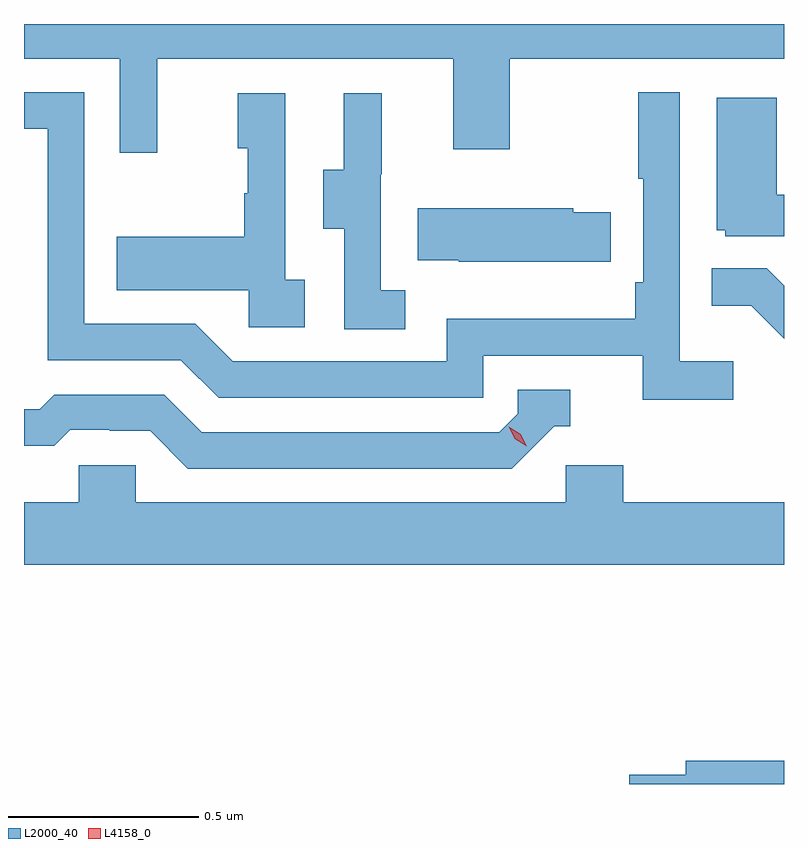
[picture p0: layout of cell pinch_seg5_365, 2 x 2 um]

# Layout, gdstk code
import gdstk
lib = gdstk.Library(unit=1e-6, precision=1e-09)
def P(c, l, *ps):  # polygons
    for p in ps: c.add(gdstk.Polygon(p, *l))
L2000_40 = (2000, 40)
L4158_0 = (4158, 0)

pinch_seg5_365 = lib.new_cell('pinch_seg5_365')
P(pinch_seg5_365, L2000_40, [(968.843,886.064),(969.623,886.064),(969.623,885.825),(969.771,885.825),(969.771,886.064),(970.493,886.064),(970.493,886.155),(968.493,886.155),(968.493,886.064),(968.745,886.064),(968.745,885.816),(968.843,885.816)],
  [(970.36,885.268),(970.218,885.268),(970.218,885.976),(970.11,885.976),(970.11,885.748),(970.122,885.748),(970.122,885.475),(970.102,885.475),(970.102,885.379),(969.606,885.379),(969.606,885.267),(969.042,885.267),(968.943,885.366),(968.652,885.366),(968.652,885.975),(968.493,885.975),(968.493,885.879),(968.556,885.879),(968.556,885.27),(968.906,885.27),(969.005,885.171),(969.702,885.171),(969.702,885.282),(970.121,885.282),(970.121,885.166),(970.36,885.166)],
  [(969.496,885.455),(969.432,885.455),(969.432,885.759),(969.434,885.759),(969.434,885.973),(969.335,885.973),(969.335,885.771),(969.281,885.771),(969.281,885.616),(969.336,885.616),(969.336,885.352),(969.496,885.352)],
  [(969.232,885.482),(969.18,885.482),(969.18,885.973),(969.056,885.973),(969.056,885.828),(969.082,885.828),(969.082,885.71),(969.072,885.71),(969.072,885.595),(968.737,885.595),(968.737,885.455),(969.084,885.455),(969.084,885.357),(969.232,885.357)],
  [(970.493,885.706),(970.474,885.706),(970.474,885.961),(970.316,885.961),(970.316,885.612),(970.338,885.612),(970.338,885.597),(970.493,885.597)],
  [(970.037,885.66),(969.939,885.66),(969.939,885.67),(969.529,885.67),(969.529,885.533),(969.637,885.533),(969.637,885.53),(970.037,885.53)],
  [(970.493,885.466),(970.447,885.512),(970.303,885.512),(970.303,885.413),(970.407,885.413),(970.493,885.327)],
  [(969.888,885.096),(969.931,885.096),(969.931,885.192),(969.792,885.192),(969.792,885.129),(969.744,885.081),(968.961,885.081),(968.862,885.18),(968.573,885.18),(968.534,885.141),(968.493,885.141),(968.493,885.045),(968.573,885.045),(968.615,885.087),(968.718,885.087),(968.718,885.084),(968.825,885.084),(968.924,884.985),(969.777,884.985)],
  [(970.493,884.896),(970.07,884.896),(970.07,884.994),(969.918,884.994),(969.918,884.896),(968.787,884.896),(968.787,884.994),(968.637,884.994),(968.637,884.896),(968.493,884.896),(968.493,884.732),(970.493,884.732)],
  [(970.493,884.216),(970.235,884.216),(970.235,884.18),(970.086,884.18),(970.086,884.155),(970.493,884.155)])
P(pinch_seg5_365, L4158_0, [(969.816,885.044),(969.785,885.063),(969.769,885.095),(969.769,885.095),(969.769,885.095),(969.8,885.076),(969.816,885.044),(969.816,885.044)])

lib.write_gds('pinch_seg5_365.gds')
